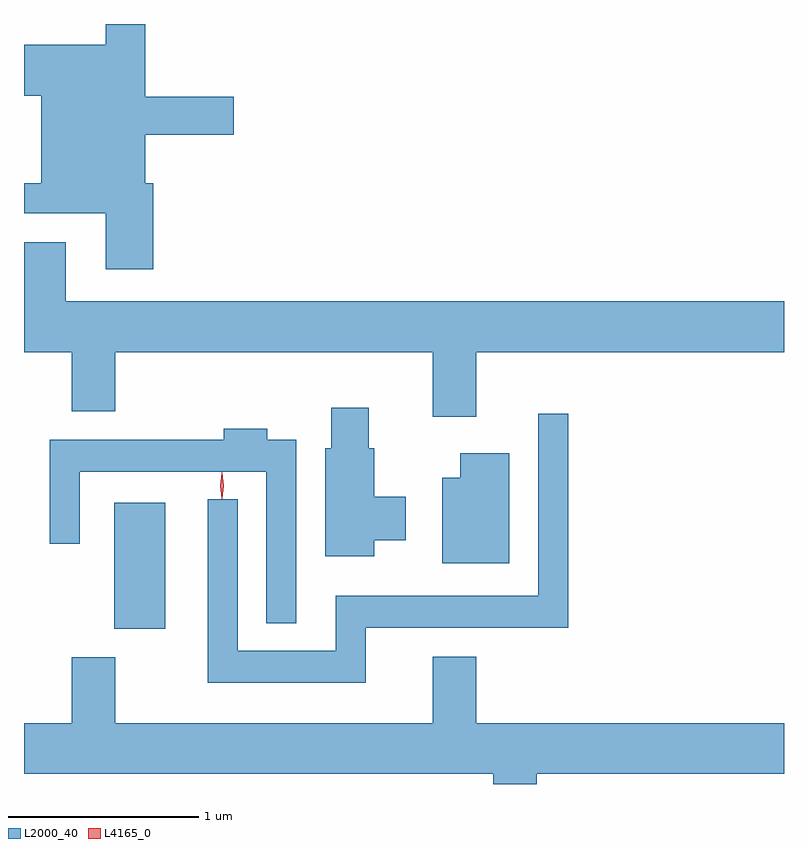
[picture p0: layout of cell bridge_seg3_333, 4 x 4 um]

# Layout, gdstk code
import gdstk
lib = gdstk.Library(unit=1e-6, precision=1e-09)
def R(c, l, rs):  # rectangles x0, y0, x1, y1
    for r in rs: c.add(gdstk.rectangle(r[:2], r[2:], *l))
def P(c, l, *ps):  # polygons
    for p in ps: c.add(gdstk.Polygon(p, *l))
L2000_40 = (2000, 40)
L4165_0 = (4165, 0)

bridge_seg3_333 = lib.new_cell('bridge_seg3_333')
R(bridge_seg3_333, L2000_40, [(578.606,1124.561,578.874,1125.224)])
P(bridge_seg3_333, L2000_40, [(578.809,1126.904),(578.769,1126.904),(578.769,1127.161),(579.234,1127.161),(579.234,1127.359),(578.769,1127.359),(578.769,1127.743),(578.561,1127.743),(578.561,1127.634),(578.13,1127.634),(578.13,1127.366),(578.221,1127.366),(578.221,1126.904),(578.13,1126.904),(578.13,1126.746),(578.561,1126.746),(578.561,1126.451),(578.809,1126.451)],
  [(580.509,1126.016),(582.13,1126.016),(582.13,1126.284),(578.349,1126.284),(578.349,1126.594),(578.13,1126.594),(578.13,1126.016),(578.381,1126.016),(578.381,1125.706),(578.609,1125.706),(578.609,1126.016),(580.281,1126.016),(580.281,1125.676),(580.509,1125.676)],
  [(579.974,1125.026),(580.139,1125.026),(580.139,1125.254),(579.974,1125.254),(579.974,1125.509),(579.944,1125.509),(579.944,1125.724),(579.746,1125.724),(579.746,1125.509),(579.716,1125.509),(579.716,1124.941),(579.974,1124.941)],
  [(579.929,1124.566),(580.994,1124.566),(580.994,1125.693),(580.836,1125.693),(580.836,1124.734),(579.771,1124.734),(579.771,1124.444),(579.254,1124.444),(579.254,1125.243),(579.096,1125.243),(579.096,1124.276),(579.929,1124.276)],
  [(579.564,1125.554),(579.409,1125.554),(579.409,1125.614),(579.181,1125.614),(579.181,1125.554),(578.266,1125.554),(578.266,1125.008),(578.424,1125.008),(578.424,1125.386),(579.406,1125.386),(579.406,1124.588),(579.564,1124.588)],
  [(580.684,1125.484),(580.426,1125.484),(580.426,1125.354),(580.331,1125.354),(580.331,1124.906),(580.684,1124.906)],
  [(580.829,1123.796),(582.13,1123.796),(582.13,1124.064),(580.509,1124.064),(580.509,1124.414),(580.281,1124.414),(580.281,1124.064),(578.609,1124.064),(578.609,1124.409),(578.381,1124.409),(578.381,1124.064),(578.13,1124.064),(578.13,1123.796),(580.601,1123.796),(580.601,1123.743),(580.829,1123.743)])
P(bridge_seg3_333, L4165_0, [(579.172,1125.244),(579.172,1125.244),(579.162,1125.313),(579.172,1125.382),(579.172,1125.383),(579.173,1125.382),(579.182,1125.313),(579.173,1125.244)])

lib.write_gds('bridge_seg3_333.gds')
